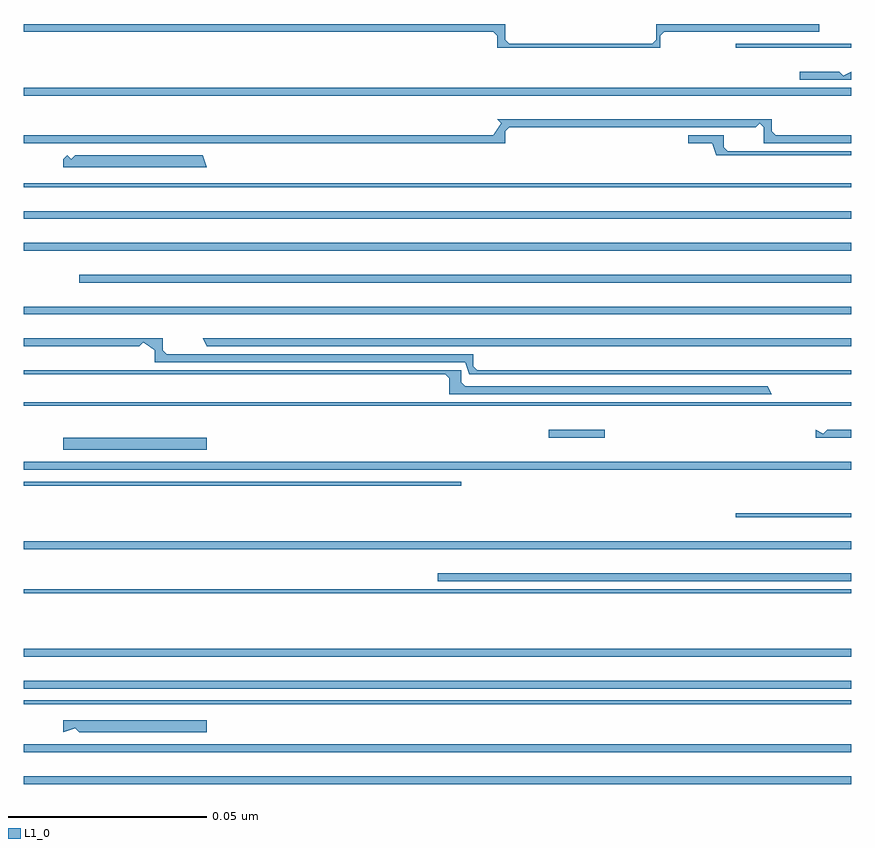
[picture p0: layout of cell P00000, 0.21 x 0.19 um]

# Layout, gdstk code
import gdstk
lib = gdstk.Library(unit=1e-6, precision=1e-10)
def R(c, l, rs):  # rectangles x0, y0, x1, y1
    for r in rs: c.add(gdstk.rectangle(r[:2], r[2:], *l))
def P(c, l, *ps):  # polygons
    for p in ps: c.add(gdstk.Polygon(p, *l))
L1_0 = (1, 0)

p00000 = lib.new_cell('P00000')
R(p00000, L1_0, [(0,0.001,0.208,0.003), (0,0.009,0.208,0.011), (0,0.021,0.208,0.022), (0,0.025,0.208,0.027), (0,0.033,0.208,0.035), (0,0.049,0.208,0.05), (0.104,0.052,0.208,0.054), (0,0.06,0.208,0.062), (0.179,0.068,0.208,0.069), (0,0.076,0.11,0.077), (0,0.08,0.208,0.082), (0.01,0.085,0.046,0.088), (0.132,0.088,0.146,0.09), (0,0.096,0.208,0.097), (0,0.119,0.208,0.121), (0.014,0.127,0.208,0.129), (0,0.135,0.208,0.137), (0,0.143,0.208,0.145), (0,0.151,0.208,0.152), (0,0.174,0.208,0.176), (0.179,0.186,0.208,0.187)])
P(p00000, L1_0, [(0.01,0.017),(0.01,0.014),(0.013,0.015),(0.014,0.014),(0.046,0.014),(0.046,0.017)],
  [(0.199,0.09),(0.199,0.088),(0.208,0.088),(0.208,0.09),(0.202,0.09),(0.201,0.089)],
  [(0,0.105),(0,0.104),(0.106,0.104),(0.107,0.103),(0.107,0.099),(0.188,0.099),(0.187,0.101),(0.111,0.101),(0.11,0.102),(0.11,0.105)],
  [(0.045,0.113),(0.046,0.111),(0.208,0.111),(0.208,0.113)],
  [(0,0.113),(0,0.111),(0.029,0.111),(0.03,0.112),(0.033,0.11),(0.033,0.107),(0.111,0.107),(0.112,0.104),(0.208,0.104),(0.208,0.105),(0.114,0.105),(0.113,0.106),(0.113,0.109),(0.036,0.109),(0.035,0.11),(0.035,0.113)],
  [(0.01,0.158),(0.01,0.156),(0.046,0.156),(0.045,0.159),(0.013,0.159),(0.012,0.158),(0.011,0.159)],
  [(0.167,0.164),(0.167,0.162),(0.173,0.162),(0.174,0.159),(0.208,0.159),(0.208,0.16),(0.177,0.16),(0.176,0.161),(0.176,0.164)],
  [(0.208,0.164),(0.189,0.164),(0.188,0.165),(0.188,0.168),(0.119,0.168),(0.12,0.167),(0.118,0.164),(0,0.164),(0,0.162),(0.121,0.162),(0.121,0.165),(0.122,0.166),(0.184,0.166),(0.185,0.167),(0.186,0.166),(0.186,0.162),(0.208,0.162)],
  [(0.195,0.18),(0.195,0.178),(0.208,0.178),(0.208,0.18),(0.206,0.179),(0.205,0.18)],
  [(0,0.192),(0,0.19),(0.118,0.19),(0.119,0.189),(0.119,0.186),(0.16,0.186),(0.16,0.189),(0.161,0.19),(0.2,0.19),(0.2,0.192),(0.159,0.192),(0.159,0.188),(0.158,0.187),(0.122,0.187),(0.121,0.188),(0.121,0.192)])

lib.write_gds('P00000.gds')
